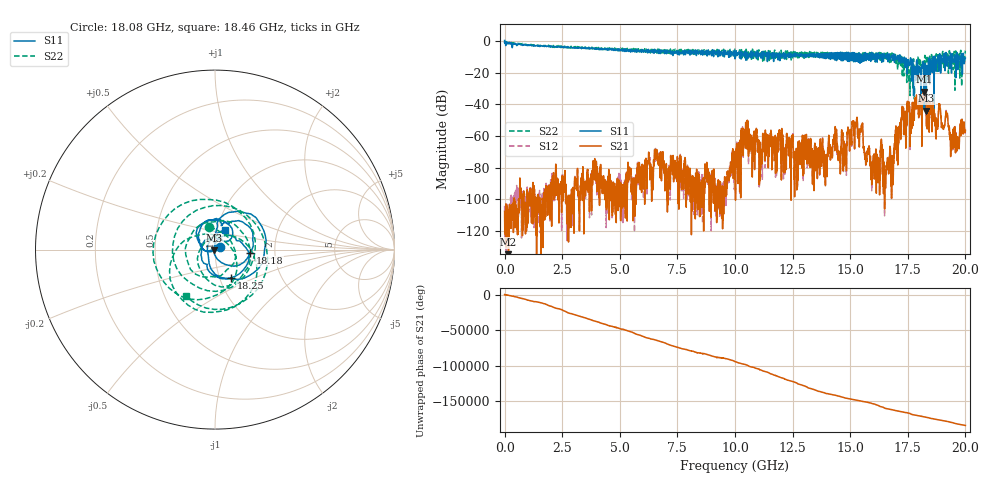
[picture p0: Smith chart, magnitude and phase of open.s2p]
! MS46122B
! 2250307/22442219
! 2/18/2026 2:12:37 PM
! C:\USERS\SPARKY\DOCUMENTS\VNA_DATA\FEB18_2026\7K2\OPEN.S2P
! CHANNEL.1
! TR.MEASUREMENT
! RAW.DATA
# GHZ S RI R 50.0
! FREQ.GHZ  S11RE  S11IM  S21RE  S21IM  S12RE  S12IM  S22RE  S22IM
!; PortSelection: Port_12
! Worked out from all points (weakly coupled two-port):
!   10001 points, 1 MHz to 20 GHz, reference 50 ohm
!   highest |S21| = -32.01 dB at 18.19 GHz (marker M1); lowest = -140.0 dB at 167 MHz (marker M2)
!   lowest |S11| = -44.0 dB at 18.3 GHz (marker M3), VSWR 1.01, Z = 49.6 - j0.488 ohm
!   |S11| at or under -10 dB: 17.17 GHz to 18.6 GHz (1.426 GHz wide, 7.97 % of centre); 18.69 GHz to 18.8 GHz (108.5 MHz wide, 0.579 % of centre); 19.18 GHz to 19.33 GHz (150.8 MHz wide, 0.783 % of centre) (the widest 3 of 93)
!   |S22| runs from -36.7 to 0.0 dB; largest |S21 - S12| = 0.0042
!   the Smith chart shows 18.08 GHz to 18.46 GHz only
!   S11 on the Smith chart (normalised r, x): 18.08 GHz: 1.06, +0.03; 18.18 GHz: 1.48, -0.06; 18.25 GHz: 1.13, -0.37; 18.46 GHz: 1.09, +0.25
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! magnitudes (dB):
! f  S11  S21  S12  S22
! 1 MHz  0.4  -107.6  -104.1  -0.1
! 167 MHz  -1.6  -140.0  -118.3  -1.0
! 3.335 GHz  -4.2  -87.7  -87.0  -4.8
! 6.669 GHz  -7.2  -76.6  -77.2  -7.3
! 10 GHz  -11.1  -81.6  -79.5  -5.4
! 10.52 GHz  -8.0  -54.7  -55.2  -11.6
! 11.1 GHz  -7.9  -66.1  -66.4  -8.0
! 13.33 GHz  -9.9  -78.7  -79.4  -8.5
! 14.33 GHz  -10.7  -69.1  -69.2  -10.1
! 14.52 GHz  -7.7  -71.5  -72.3  -8.9
! 15.21 GHz  -11.4  -52.8  -52.9  -8.5
! 15.95 GHz  -9.0  -77.8  -76.9  -10.4
! 16.67 GHz  -9.3  -79.6  -79.6  -9.1
! 17.3 GHz  -13.3  -41.7  -41.6  -11.5
! 18.08 GHz  -30.2  -40.4  -40.3  -17.8
! 18.18 GHz  -14.1  -33.6  -33.7  -14.9
! 18.19 GHz  -17.0  -32.0  -32.0  -19.2
! 18.25 GHz  -14.9  -34.4  -34.4  -9.1
! 18.3 GHz  -44.0  -44.8  -44.9  -12.5
! 18.46 GHz  -18.0  -40.3  -40.8  -10.3
! 19.41 GHz  -11.0  -64.8  -64.0  -10.0
! 20 GHz  -10.8  -56.4  -57.0  -6.1
